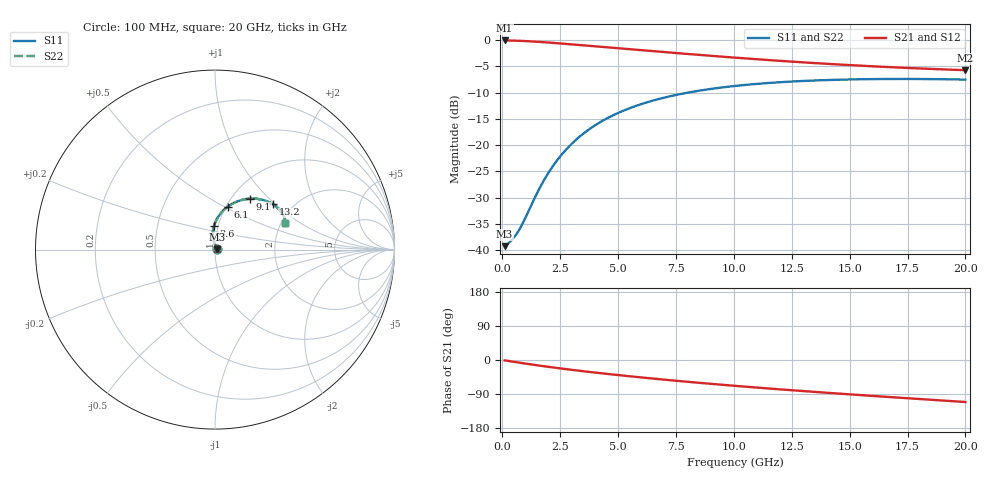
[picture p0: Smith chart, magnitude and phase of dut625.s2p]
! Touchstone file exported from HFSS 2024.1.0
!  File:  C:/UserFiles/LocalFiles/RDL_TSV_Batchsim/temp_RDL_TSV_625_1779802838.aedt
!  Generated:  09:58:27 PM May 26, 2026
!  Design:  RDL_TSV
!  Project:  temp_RDL_TSV_625_1779802838
!  Setup:  Setup1
!  Solution:  Sweep
! Variables:
!  dtsv = 7.39um
!  hbump = 3um
!  htsv = 62.8um
!  ldown = 149.76um
!  lrdl = 229.39um
!  p = 40
!  p1 = 44.68um
!  rhole = 10um
!  subl = 1366.84um
!  t = 450um
!  tdown = 3.22um
!  trdl = 4.03um
!  viad = 10um
!  wdown = 18.18um
!  wrdl = 11.35um
!  xbump = 18um
# GHz S MA R 50.000000
! Terminal data exported
! Port[1] = TM1_1_T1
! Port[2] = TM1_4_T1
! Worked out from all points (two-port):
!   200 points, 100 MHz to 20 GHz, reference 50 ohm
!   highest |S21| = -0.10 dB at 100 MHz (marker M1); lowest = -5.7 dB at 20 GHz (marker M2)
!   |S21| within 3 dB of the highest: start of sweep to 9.244 GHz
!   lowest |S11| = -39.2 dB at 100 MHz (marker M3), VSWR 1.02, Z = 51.1 + j0.195 ohm
!   |S11| at or under -10 dB: start of sweep to 8.035 GHz
!   |S22| runs from -39.2 to -7.4 dB; largest |S21 - S12| = 2.3e-14
!   S11 on the Smith chart (normalised r, x): 100 MHz: 1.02, +0.00; 3.6 GHz: 0.96, +0.26; 6.1 GHz: 1.02, +0.52; 9.1 GHz: 1.21, +0.78; 13.2 GHz: 1.59, +0.97; 20 GHz: 2.11, +0.76
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0.1  0.01095 10.0  0.989 -1.0  0.989 -1.0  0.01095 10.0
! Gamma 0 0 0 0
! Port Impedance 50 0 50 0
0.4  0.0125 36.1  0.9865 -3.9  0.9865 -3.9  0.0125 36.1
0.7  0.01527 58.8  0.9819 -6.7  0.9819 -6.7  0.01527 58.8
0.9  0.01838 71.9  0.9779 -8.6  0.9779 -8.6  0.01838 71.9
1.6  0.03854 95.6  0.9585 -14.8  0.9585 -14.8  0.03853 95.6
1.9  0.05056 98.4  0.9485 -17.3  0.9485 -17.3  0.05055 98.4
2.2  0.0639 99.2  0.9378 -19.8  0.9378 -19.8  0.06388 99.2
2.8  0.09301 97.4  0.9154 -24.5  0.9154 -24.5  0.09298 97.4
3.5  0.1287 92.9  0.8889 -29.6  0.8889 -29.6  0.1286 92.9
3.6  0.1338 92.1  0.8851 -30.4  0.8851 -30.4  0.1337 92.1
4.1  0.159 88.3  0.8665 -33.8  0.8665 -33.8  0.1589 88.3
4.7  0.1882 83.7  0.8446 -37.8  0.8446 -37.8  0.1881 83.7
5.4  0.2201 78.5  0.8198 -42.3  0.8198 -42.3  0.2201 78.4
6.1  0.2495 73.5  0.7959 -46.6  0.7959 -46.6  0.2494 73.5
6.8  0.276 68.8  0.773 -50.8  0.773 -50.8  0.276 68.8
7.9  0.3123 62.0  0.7387 -57.0  0.7387 -57.0  0.3122 62.0
9.1  0.3446 55.5  0.7041 -63.4  0.7041 -63.4  0.3444 55.5
10.1  0.3663 50.6  0.6775 -68.4  0.6775 -68.4  0.3662 50.6
13.2  0.4094 38.2  0.6082 -82.9  0.6082 -82.9  0.4092 38.2
13.4  0.4111 37.5  0.6044 -83.8  0.6044 -83.8  0.411 37.5
16.7  0.4256 27.8  0.5519 -97.7  0.5519 -97.7  0.4254 27.8
20  0.4198 20.7  0.516 -110.9  0.516 -110.9  0.4196 20.7
